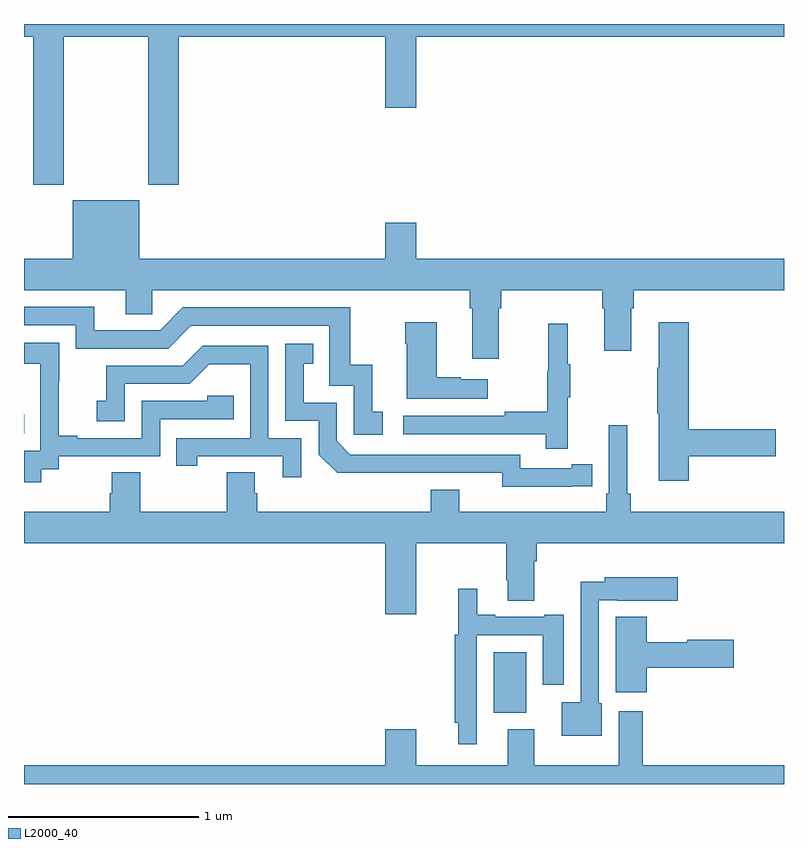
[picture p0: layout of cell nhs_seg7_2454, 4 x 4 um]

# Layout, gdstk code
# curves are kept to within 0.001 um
import gdstk
lib = gdstk.Library(unit=1e-6, precision=1e-09)
def R(c, l, rs):  # rectangles x0, y0, x1, y1
    for r in rs: c.add(gdstk.rectangle(r[:2], r[2:], *l))
def P(c, l, *ps):  # polygons
    for p in ps: c.add(gdstk.Polygon(p, *l))
L2000_40 = (2000, 40)

nhs_seg7_2454 = lib.new_cell('nhs_seg7_2454')
R(nhs_seg7_2454, L2000_40, [(273.473,1014.374,273.643,1014.694), (271,1015.845,271.001,1015.946)])
P(nhs_seg7_2454, L2000_40, [(271.209,1017.932),(271.654,1017.932),(271.654,1017.153),(271.814,1017.153),(271.814,1017.932),(272.9,1017.932),(272.9,1017.558),(273.064,1017.558),(273.064,1017.932),(275,1017.932),(275,1018),(271,1018),(271,1017.932),(271.049,1017.932),(271.049,1017.153),(271.209,1017.153)],
  [(273.499,1016.504),(273.512,1016.504),(273.512,1016.6),(274.043,1016.6),(274.043,1016.504),(274.055,1016.504),(274.055,1016.28),(274.195,1016.28),(274.195,1016.504),(274.208,1016.504),(274.208,1016.6),(275,1016.6),(275,1016.764),(273.064,1016.764),(273.064,1016.953),(272.9,1016.953),(272.9,1016.764),(271.606,1016.764),(271.606,1017.073),(271.256,1017.073),(271.256,1016.764),(271,1016.764),(271,1016.6),(271.535,1016.6),(271.535,1016.473),(271.674,1016.473),(271.674,1016.6),(273.347,1016.6),(273.347,1016.504),(273.359,1016.504),(273.359,1016.238),(273.499,1016.238)],
  [(272.887,1015.959),(272.834,1015.959),(272.834,1016.206),(272.716,1016.206),(272.716,1016.508),(271.836,1016.508),(271.716,1016.388),(271.369,1016.388),(271.369,1016.511),(271,1016.511),(271,1016.415),(271.272,1016.415),(271.272,1016.292),(271.758,1016.292),(271.878,1016.412),(272.607,1016.412),(272.607,1016.097),(272.736,1016.097),(272.736,1015.839),(272.887,1015.839)],
  [(274.499,1015.726),(274.957,1015.726),(274.957,1015.868),(274.499,1015.868),(274.499,1016.431),(274.34,1016.431),(274.34,1016.192),(274.333,1016.192),(274.333,1015.951),(274.34,1015.951),(274.34,1015.596),(274.499,1015.596)],
  [(273.442,1016.131),(273.299,1016.131),(273.299,1016.141),(273.172,1016.141),(273.172,1016.431),(273.007,1016.431),(273.007,1016.318),(273.014,1016.318),(273.014,1016.027),(273.442,1016.027)],
  [(273.863,1016.035),(273.874,1016.035),(273.874,1016.209),(273.863,1016.209),(273.863,1016.422),(273.76,1016.422),(273.76,1016.172),(273.753,1016.172),(273.753,1015.958),(273.529,1015.958),(273.529,1015.938),(272.997,1015.938),(272.997,1015.842),(273.745,1015.842),(273.745,1015.764),(273.863,1015.764)],
  [(271.09,1015.657),(271.182,1015.657),(271.182,1015.725),(271.716,1015.725),(271.716,1015.92),(272.105,1015.92),(272.105,1016.043),(271.965,1016.043),(271.965,1016.016),(271.62,1016.016),(271.62,1015.821),(271.279,1015.821),(271.279,1015.834),(271.184,1015.834),(271.184,1016.117),(271.185,1016.117),(271.185,1016.323),(271,1016.323),(271,1016.213),(271.085,1016.213),(271.085,1015.985),(271.086,1015.985),(271.086,1015.755),(271,1015.755),(271,1015.587),(271.09,1015.587)],
  [(273.884,1015.566),(273.992,1015.566),(273.992,1015.682),(273.884,1015.682),(273.884,1015.662),(273.612,1015.662),(273.612,1015.734),(272.718,1015.734),(272.646,1015.806),(272.646,1016.007),(272.473,1016.007),(272.473,1016.211),(272.522,1016.211),(272.522,1016.317),(272.376,1016.317),(272.376,1015.911),(272.55,1015.911),(272.55,1015.734),(272.648,1015.637),(273.516,1015.638),(273.516,1015.565)],
  [(272.46,1015.821),(272.286,1015.821),(272.286,1016.307),(271.94,1016.307),(271.835,1016.202),(271.432,1016.202),(271.432,1016.017),(271.383,1016.017),(271.383,1015.908),(271.53,1015.908),(271.53,1016.106),(271.872,1016.106),(271.976,1016.21),(272.19,1016.21),(272.19,1015.821),(271.801,1015.821),(271.801,1015.674),(271.912,1015.674),(271.912,1015.725),(272.363,1015.725),(272.363,1015.614),(272.46,1015.614)],
  [(273.064,1015.268),(273.538,1015.268),(273.538,1015.072),(273.545,1015.072),(273.545,1014.964),(273.685,1014.964),(273.685,1015.172),(273.698,1015.172),(273.698,1015.268),(275,1015.268),(275,1015.432),(274.193,1015.432),(274.193,1015.528),(274.174,1015.528),(274.174,1015.888),(274.077,1015.888),(274.077,1015.528),(274.064,1015.528),(274.064,1015.432),(273.292,1015.432),(273.292,1015.549),(273.14,1015.549),(273.14,1015.432),(272.228,1015.432),(272.228,1015.53),(272.215,1015.53),(272.215,1015.64),(272.068,1015.64),(272.068,1015.432),(271.611,1015.432),(271.611,1015.64),(271.463,1015.64),(271.463,1015.53),(271.451,1015.53),(271.451,1015.432),(271,1015.432),(271,1015.268),(272.9,1015.268),(272.9,1014.894),(273.064,1014.894)],
  [(274.042,1014.426),(274.026,1014.426),(274.026,1014.966),(274.123,1014.966),(274.123,1014.965),(274.441,1014.965),(274.441,1015.087),(274.056,1015.087),(274.056,1015.064),(273.93,1015.064),(273.93,1014.43),(273.83,1014.43),(273.83,1014.254),(274.042,1014.254)],
  [(273.384,1014.783),(273.731,1014.783),(273.731,1014.522),(273.841,1014.522),(273.841,1014.892),(273.737,1014.892),(273.737,1014.879),(273.481,1014.879),(273.481,1014.892),(273.385,1014.892),(273.385,1015.027),(273.286,1015.027),(273.286,1014.786),(273.268,1014.786),(273.268,1014.322),(273.286,1014.322),(273.286,1014.21),(273.384,1014.21)],
  [(274.277,1014.611),(274.735,1014.611),(274.735,1014.758),(274.491,1014.758),(274.491,1014.745),(274.277,1014.745),(274.277,1014.88),(274.115,1014.88),(274.115,1014.483),(274.277,1014.483)],
  [(275,1014.1),(274.256,1014.1),(274.256,1014.382),(274.13,1014.382),(274.13,1014.1),(273.685,1014.1),(273.685,1014.289),(273.545,1014.289),(273.545,1014.1),(273.064,1014.1),(273.064,1014.289),(272.9,1014.289),(272.9,1014.1),(271,1014.1),(271,1014),(275,1014)])

lib.write_gds('nhs_seg7_2454.gds')
